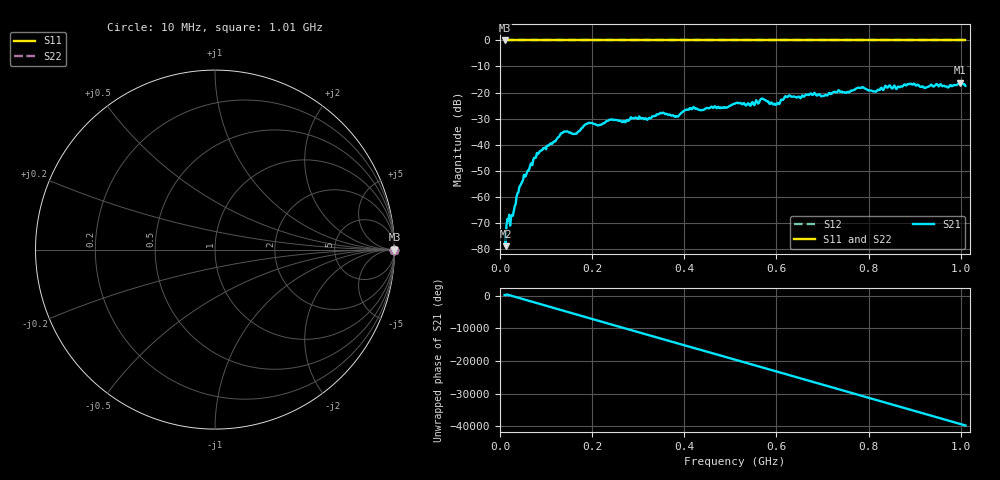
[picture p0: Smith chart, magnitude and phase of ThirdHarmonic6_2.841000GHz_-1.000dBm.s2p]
! 8/17/2025 7:38:05 AM
! C:\ANRITSUVNA\TEMP\TEMP.S2P
! CHANNEL.1
! TR.MEASUREMENT
! RAW.DATA
! RF.CORRECTION.OFF
! AVERAGING.OFF
! IF.BANDWIDTH: 5KHZ
! SWEEPTYPE:  FREQ.SWEEP(Linear)
! Reference Plane Port Info
! PORT:  PORT1  PORT2
! DISTANCE:  0  m  0  m
! TIME:  0  s  0  s
! PHASE.OFFSET:  0  deg.  0  deg.
! LOSS:  0  dB  0  dB
! REF.LOSS:  0  dB  0  dB
! REF.FREQ:  0  Hz  0  Hz
! Power Info
! POWER:  -20  dBm  -20  dBm
! EFF.POWER:  -20  dBm  -20  dBm
! SOURCE.ATTEN:  0  dB  0  dB
! TEST.ATTEN:  0  dB  0  dB
# GHZ S RI R 50.0
! FREQ.GHZ  S11RE  S11IM  S21RE  S21IM  S12RE  S12IM  S22RE  S22IM
!; PortSelection: Port_12
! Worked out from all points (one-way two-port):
!   501 points, 10 MHz to 1.01 GHz, reference 50 ohm
!   highest |S21| = -16.26 dB at 998 MHz (marker M1); lowest = -79.0 dB at 12 MHz (marker M2)
!   lowest |S11| = 0.0 dB at 10 MHz (marker M3)
!   |S11| at or under -10 dB: nowhere
!   |S22| runs from 0.0 to 0.0 dB; largest |S21 - S12| = 1.1
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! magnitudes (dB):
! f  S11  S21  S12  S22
! 10 MHz  0.0  -73.6  0.0  0.0
! 12 MHz  0.0  -79.0  0.0  0.0
! 18 MHz  0.0  -69.2  0.0  0.0
! 26 MHz  0.0  -67.1  0.0  0.0
! 48 MHz  0.0  -54.3  0.0  0.0
! 78 MHz  0.0  -45.0  0.0  0.0
! 136 MHz  0.0  -35.5  0.0  0.0
! 162 MHz  0.0  -35.9  0.0  0.0
! 178 MHz  0.0  -33.7  0.0  0.0
! 194 MHz  0.0  -31.6  0.0  0.0
! 322 MHz  0.0  -29.9  0.0  0.0
! 344 MHz  0.0  -28.4  0.0  0.0
! 382 MHz  0.0  -29.1  0.0  0.0
! 416 MHz  0.0  -26.4  0.0  0.0
! 510 MHz  0.0  -24.2  0.0  0.0
! 570 MHz  0.0  -22.4  0.0  0.0
! 596 MHz  0.0  -24.3  0.0  0.0
! 624 MHz  0.0  -21.7  0.0  0.0
! 678 MHz  0.0  -20.9  0.0  0.0
! 844 MHz  0.0  -17.5  0.0  0.0
! 998 MHz  0.0  -16.3  0.0  0.0
! 1.01 GHz  0.0  -17.4  0.0  0.0
